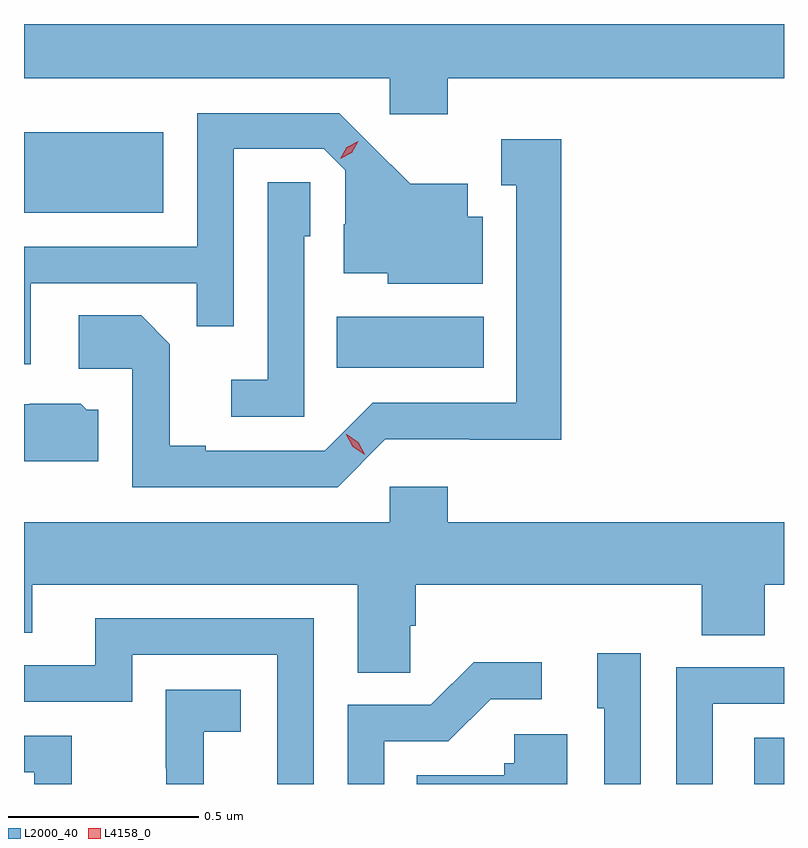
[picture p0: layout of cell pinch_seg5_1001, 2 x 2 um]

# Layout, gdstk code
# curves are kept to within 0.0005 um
import gdstk
lib = gdstk.Library(unit=1e-6, precision=1e-09)
def R(c, l, rs):  # rectangles x0, y0, x1, y1
    for r in rs: c.add(gdstk.rectangle(r[:2], r[2:], *l))
def P(c, l, *ps):  # polygons
    for p in ps: c.add(gdstk.Polygon(p, *l))
L2000_40 = (2000, 40)
L4158_0 = (4158, 0)

pinch_seg5_1001 = lib.new_cell('pinch_seg5_1001')
R(pinch_seg5_1001, L2000_40, [(711.671,880.211,711.749,880.333), (710.572,881.306,710.959,881.44), (709.749,881.714,710.116,881.926)])
P(pinch_seg5_1001, L2000_40, [(710.864,882.068),(711.749,882.068),(711.749,882.211),(709.749,882.211),(709.749,882.068),(710.712,882.068),(710.712,881.973),(710.864,881.973)],
  [(709.767,881.529),(710.203,881.529),(710.203,881.416),(710.301,881.416),(710.301,881.883),(710.538,881.883),(710.595,881.826),(710.595,881.684),(710.591,881.684),(710.591,881.555),(710.706,881.555),(710.706,881.528),(710.956,881.528),(710.956,881.704),(710.917,881.704),(710.917,881.791),(710.765,881.791),(710.578,881.976),(710.205,881.976),(710.205,881.625),(709.749,881.625),(709.749,881.316),(709.767,881.316)],
  [(710.7,881.118),(710.922,881.118),(710.922,881.117),(711.163,881.117),(711.163,881.908),(711.005,881.908),(711.005,881.787),(711.044,881.787),(711.044,881.214),(710.667,881.214),(710.541,881.088),(710.227,881.088),(710.227,881.101),(710.133,881.101),(710.133,881.368),(710.057,881.444),(709.893,881.444),(709.893,881.304),(710.034,881.304),(710.034,880.992),(710.574,880.992)],
  [(710.487,881.652),(710.502,881.652),(710.502,881.795),(710.391,881.795),(710.391,881.275),(710.295,881.275),(710.295,881.178),(710.487,881.178)],
  [(709.945,881.196),(709.914,881.196),(709.898,881.212),(709.764,881.212),(709.764,881.211),(709.749,881.211),(709.749,881.06),(709.945,881.06)],
  [(710.766,880.627),(710.78,880.627),(710.78,880.736),(711.533,880.736),(711.533,880.603),(711.698,880.603),(711.698,880.736),(711.749,880.736),(711.749,880.9),(710.864,880.9),(710.864,880.993),(710.712,880.993),(710.712,880.9),(709.749,880.9),(709.749,880.609),(709.771,880.609),(709.771,880.736),(710.627,880.736),(710.627,880.504),(710.766,880.504)],
  [(710.511,880.647),(709.937,880.647),(709.937,880.524),(709.749,880.524),(709.749,880.428),(710.034,880.428),(710.034,880.551),(710.415,880.551),(710.415,880.211),(710.511,880.211)],
  [(711.372,880.555),(711.257,880.555),(711.257,880.41),(711.276,880.41),(711.276,880.211),(711.372,880.211)],
  [(710.697,880.323),(710.866,880.323),(710.977,880.434),(711.112,880.434),(711.112,880.532),(710.933,880.532),(710.82,880.419),(710.601,880.419),(710.601,880.211),(710.697,880.211)],
  [(711.561,880.422),(711.749,880.422),(711.749,880.518),(711.465,880.518),(711.465,880.211),(711.561,880.211)],
  [(710.222,880.349),(710.32,880.349),(710.32,880.459),(710.122,880.459),(710.122,880.253),(710.123,880.253),(710.123,880.211),(710.222,880.211)],
  [(711.178,880.342),(711.039,880.342),(711.039,880.266),(711.013,880.266),(711.013,880.234),(710.782,880.234),(710.782,880.211),(711.178,880.211)],
  [(709.875,880.338),(709.749,880.338),(709.749,880.242),(709.776,880.242),(709.776,880.211),(709.875,880.211)])
P(pinch_seg5_1001, L4158_0, [(710.646,881.078),(710.614,881.098),(710.597,881.13),(710.597,881.131),(710.598,881.131),(710.629,881.111),(710.646,881.079),(710.646,881.078)],
  [(710.581,881.857),(710.581,881.857),(710.598,881.887),(710.628,881.902),(710.628,881.902),(710.628,881.902),(710.611,881.872),(710.581,881.857)])

lib.write_gds('pinch_seg5_1001.gds')
